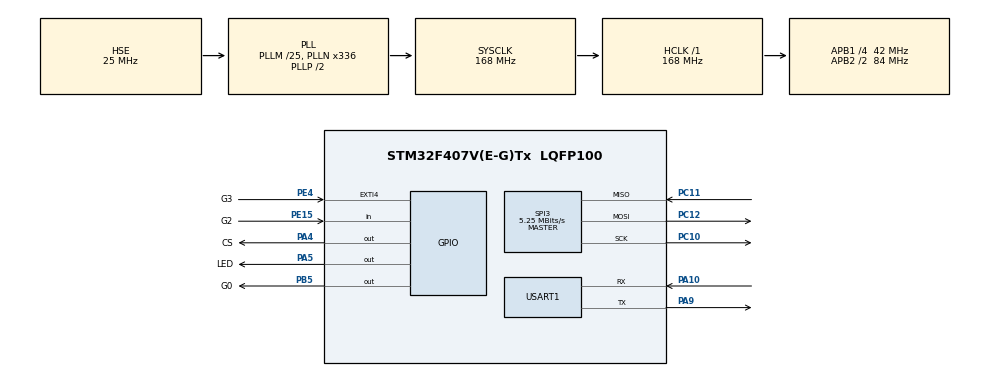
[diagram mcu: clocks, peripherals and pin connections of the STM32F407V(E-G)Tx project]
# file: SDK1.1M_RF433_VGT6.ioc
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Mcu.Family=STM32F4
Mcu.Name=STM32F407V(E-G)Tx
Mcu.Package=LQFP100
NVIC.EXTI4_IRQn=true\:0\:0\:false\:false\:true\:true\:true
NVIC.PriorityGroup=NVIC_PRIORITYGROUP_4
NVIC.USART1_IRQn=true\:0\:0\:false\:false\:true\:true\:true
PA10.Mode=Asynchronous
PA10.Signal=USART1_RX
PA13.Mode=JTAG_5_pins
PA13.Signal=SYS_JTMS-SWDIO
PA14.Mode=JTAG_5_pins
PA14.Signal=SYS_JTCK-SWCLK
PA15.Mode=JTAG_5_pins
PA15.Signal=SYS_JTDI
PA4.GPIO_Label=CS
PA4.Signal=GPIO_Output
PA5.GPIO_Label=LED
PA5.GPIO_PuPd=GPIO_PULLDOWN
PA5.Signal=GPIO_Output
PA9.Mode=Asynchronous
PA9.Signal=USART1_TX
PB3.Mode=JTAG_5_pins
PB3.Signal=SYS_JTDO-SWO
PB4.Mode=JTAG_5_pins
PB4.Signal=SYS_JTRST
PB5.GPIO_Label=G0
PB5.GPIO_ModeDefaultOutputPP=GPIO_MODE_OUTPUT_PP
PB5.GPIO_PuPd=GPIO_PULLUP
PB5.GPIO_Speed=GPIO_SPEED_FREQ_VERY_HIGH
PB5.Signal=GPIO_Output
PC10.Mode=Full_Duplex_Master
PC10.Signal=SPI3_SCK
PC11.Mode=Full_Duplex_Master
PC11.Signal=SPI3_MISO
PC12.Mode=Full_Duplex_Master
PC12.Signal=SPI3_MOSI
PE15.GPIO_Label=G2
PE15.GPIO_PuPd=GPIO_PULLUP
PE15.Signal=GPIO_Input
PE4.GPIO_Label=G3
PE4.GPIO_ModeDefaultEXTI=GPIO_MODE_IT_RISING
PE4.GPIO_PuPd=GPIO_PULLUP
PE4.Signal=GPXTI4
PH0-OSC_IN.Mode=HSE-External-Oscillator
PH0-OSC_IN.Signal=RCC_OSC_IN
PH1-OSC_OUT.Mode=HSE-External-Oscillator
PH1-OSC_OUT.Signal=RCC_OSC_OUT
ProjectManager.HeapSize=0x200
ProjectManager.StackSize=0x400
ProjectManager.TargetToolchain=STM32CubeIDE
RCC.48MHZClocksFreq_Value=84000000
RCC.AHBFreq_Value=168000000
RCC.APB1CLKDivider=RCC_HCLK_DIV4
RCC.APB1Freq_Value=42000000
RCC.APB1TimFreq_Value=84000000
RCC.APB2CLKDivider=RCC_HCLK_DIV2
RCC.APB2Freq_Value=84000000
RCC.APB2TimFreq_Value=168000000
RCC.CortexFreq_Value=168000000
RCC.HCLKFreq_Value=168000000
RCC.HSE_VALUE=25000000
RCC.HSI_VALUE=16000000
RCC.LSE_VALUE=32768
RCC.PLLM=25
RCC.PLLN=336
RCC.PLLSourceVirtual=RCC_PLLSOURCE_HSE
RCC.SYSCLKFreq_VALUE=168000000
RCC.SYSCLKSource=RCC_SYSCLKSOURCE_PLLCLK
RCC.VCOOutputFreq_Value=336000000
SPI3.BaudRatePrescaler=SPI_BAUDRATEPRESCALER_8
SPI3.CalculateBaudRate=5.25 MBits/s
SPI3.Direction=SPI_DIRECTION_2LINES
SPI3.Mode=SPI_MODE_MASTER
SPI3.VirtualType=VM_MASTER
USART1.VirtualMode=VM_ASYNC
board=custom

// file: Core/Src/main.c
/* USER CODE BEGIN Header */
/* USER CODE END Header */

#include "main.h"
#include "spi.h"
#include "usart.h"
#include "gpio.h"

/* USER CODE BEGIN Includes */
#include "CC120x.h"
#include "RFTools.h"
#include "cmp.h"
#include <stdio.h>

/* USER CODE END Includes */

void SystemClock_Config(void);

/* USER CODE BEGIN 0 */

static uint8_t cc120x_redyToTranfmitt = 1;

/* USER CODE END 0 */

int main(void) {

	/* MCU Configuration--------------------------------------------------------*/

	/* Reset of all peripherals, Initializes the Flash interface and the Systick. */
	HAL_Init();

	/* Configure the system clock */
	SystemClock_Config();

	/* Initialize all configured peripherals */
	MX_GPIO_Init();
	MX_SPI3_Init();
	MX_USART1_UART_Init();
	/* USER CODE BEGIN 2 */

//  HAL_TIM_Base_Start_IT(&htim2);
	/* USER CODE END 2 */

	/* Infinite loop */
	/* USER CODE BEGIN WHILE */
	cc120x_Init(hspi3, CS_GPIO_Port, CS_Pin);

	cc120x_WriteSettings(preferredSettings, settingsSize());
	cc120x_WriteStrobe(SNOP);

	HAL_Delay(100);
	cc120x_beginReceive();
	/*
	 uint8_t bufsize = 128;
	 uint8_t buffer[bufsize];
	 message_t message;
	 for (int i = 0; i < bufsize; i++)
	 buffer[i] = 0;
	 rftoolsPacket_t packet;
	 uint8_t dataIsOK = 0; */
//	uint8_t radioData[100] = { 0 };
	chip_status_t status = cc120x_WriteStrobe(SRX);
//	cc120x_WriteStrobe(SRX);
//	cc120x_WriteStrobe(SRX);
//	cc120x_WriteStrobe(SRX);
	while (1) {
		TISerialRadio_init(G2_GPIO_Port, G2_Pin, G0_GPIO_Port, G0_Pin, G3_GPIO_Port, G3_Pin);
//		uint8_t rssi = 0;//cc120x_RSSI();

//		status = cc120x_WriteStrobe(SNOP);
//
//		sprintf(buf, "%d - %d\n", rssi, status.chip_status);
//		if (HAL_UART_Transmit_IT(&huart1, buf, sizeof(buf)) == HAL_OK)
//		HAL_UART_Transmit_IT(&huart1, buf, sizeof(buf));

		/* rftools
		 //uint8_t offset = 0;

		 while (dataIsOK == 0) {
		 if (HAL_UART_Receive_IT(&huart1, buffer, PACKET_LENGTH)
		 == HAL_OK) {
		 dataIsOK = getPacket(buffer, &packet);
		 //				break;
		 //			else
		 //				HAL_UART_Abort(&huart1);

		 if (dataIsOK > 0)
		 {HAL_UART_Transmit_IT(&huart1, (uint8_t*) ASK, sizeof(ASK));
		 dataIsOK = 0;
		 }
		 //				break;
		 }
		 }

		 if (dataIsOK > 0) {
		 dataIsOK = 0;
		 HAL_UART_Transmit(&huart1, (uint8_t*) ASK, sizeof(ASK), 0x10);
		 message_t *ptrMessage = &message;
		 uint8_t messageSize = deserialize(packet.Data,
		 (message_t*) ptrMessage);

		 if (message.command == RFTOOLS_COMMAND_REGISTER) {
		 uint16_t naddress = ((uint16_t) message.address[0] << 8)
		 | message.address[1];
		 cc120x_WriteSingleRegister((uint16_t) naddress,
		 message.data[0]);
		 }
		 if (message.command == RFTOOLS_COMMAND_STROBE) {
		 cc120x_WriteStrobe(message.data[0]);
		 }

		 }

		 //
		 //		uint8_t size = cc120x_NumRxBytes();
		 //	if(size != 0 )
		 //		HAL_Delay(2);
		 * */

//HAL_SPI_Receive(&hspi1, radioData, sizeof(radioData), 0xFF);
	}

	/* USER CODE END WHILE */

}

void SystemClock_Config(void) {
	RCC_OscInitTypeDef RCC_OscInitStruct = { 0 };
	RCC_ClkInitTypeDef RCC_ClkInitStruct = { 0 };

	/** Configure the main internal regulator output voltage
	 */
	__HAL_RCC_PWR_CLK_ENABLE();
	__HAL_PWR_VOLTAGESCALING_CONFIG(PWR_REGULATOR_VOLTAGE_SCALE1);
	/** Initializes the CPU, AHB and APB busses clocks
	 */
	RCC_OscInitStruct.OscillatorType = RCC_OSCILLATORTYPE_HSE;
	RCC_OscInitStruct.HSEState = RCC_HSE_ON;
	RCC_OscInitStruct.PLL.PLLState = RCC_PLL_ON;
	RCC_OscInitStruct.PLL.PLLSource = RCC_PLLSOURCE_HSE;
	RCC_OscInitStruct.PLL.PLLM = 25;
	RCC_OscInitStruct.PLL.PLLN = 336;
	RCC_OscInitStruct.PLL.PLLP = RCC_PLLP_DIV2;
	RCC_OscInitStruct.PLL.PLLQ = 4;
	if (HAL_RCC_OscConfig(&RCC_OscInitStruct) != HAL_OK) {
		Error_Handler();
	}
	/** Initializes the CPU, AHB and APB busses clocks
	 */
	RCC_ClkInitStruct.ClockType = RCC_CLOCKTYPE_HCLK | RCC_CLOCKTYPE_SYSCLK
			| RCC_CLOCKTYPE_PCLK1 | RCC_CLOCKTYPE_PCLK2;
	RCC_ClkInitStruct.SYSCLKSource = RCC_SYSCLKSOURCE_PLLCLK;
	RCC_ClkInitStruct.AHBCLKDivider = RCC_SYSCLK_DIV1;
	RCC_ClkInitStruct.APB1CLKDivider = RCC_HCLK_DIV4;
	RCC_ClkInitStruct.APB2CLKDivider = RCC_HCLK_DIV2;

	if (HAL_RCC_ClockConfig(&RCC_ClkInitStruct, FLASH_LATENCY_5) != HAL_OK) {
		Error_Handler();
	}
}

/* USER CODE BEGIN 4 */

uint64_t syncword = 0xAAAAAAAAAAAAAAAA;
uint64_t recsyncword = 0;
uint8_t sync_word_index = sizeof(syncword) - 1;
uint8_t bitpos = 0;
uint8_t ReceiveSync(uint8_t pinstate) {
//	if (bitpos != 63) {
//		recsyncword |= (pinstate << (63 - bitpos++));
//	} else {
		if (bitpos > 63 && recsyncword == syncword) {
			bitpos = 0;
			return 1;
		}
		recsyncword = (recsyncword << 1) + pinstate;
		bitpos++;
//	}
	return 0;
}

uint16_t valIndex = 0;
uint16_t clkpin = G3_Pin;
GPIO_TypeDef *rxPort = G2_GPIO_Port;
uint16_t rxPin = G2_Pin;
uint8_t syncreceive = 0;
uint8_t counter = 0;

uint8_t transmitt = 0;
void SerialReceive(uint16_t GPIO_Pin, uint8_t *buf, uint8_t length) {
	GPIO_PinState pinstate = HAL_GPIO_ReadPin(rxPort, rxPin);
	if (syncreceive == 0)
//		syncreceive = ReceiveSync(pinstate);
		syncreceive =TISerialRadio_ReceiveSync(syncword);
	else {
		buf[valIndex] += pinstate << (7 - counter++);
		if (counter == 8) {
			counter = 0;
			valIndex++;

			if (valIndex == length) {
				syncreceive = 0;
				HAL_GPIO_TogglePin(LED_GPIO_Port, LED_Pin);
				valIndex = 0;
				transmitt = 1;
				cc120x_WriteStrobe(STX);
				cc120x_WriteStrobe(STX);
//				for (int i = 0; i < length; i++)
//					buf[i] = 0;
			}
		}
	}
}

uint8_t bufpos = 0;
uint8_t tcount = 0;
uint8_t state = 0;
uint8_t serialTransmitt(uint8_t *buf, uint8_t size) {
	state = ((buf[bufpos] & (0x80 >> tcount)) >> (7 - tcount));
	tcount++;
	HAL_GPIO_WritePin(G0_GPIO_Port, G0_Pin, state);
	if (tcount == 8) {
		bufpos++;
		tcount = 0;
	}
	if (bufpos == size) {
		bufpos = 0;
		return 1;
	}
	return 0;
}
uint8_t preamble[] = { 0xAA, 0xAA, 0xAA, 0xAA, 0xAA, 0xAA, 0xAA, 0xAA };
uint8_t buf[255] = { 0 };
uint8_t preambletransmitted = 0;
void HAL_GPIO_EXTI_Callback(uint16_t GPIO_Pin) {
	if (GPIO_Pin == clkpin) {
		if (transmitt != 1)
			SerialReceive(GPIO_Pin, buf, 255);
		else {
			if (preambletransmitted == 0) {
				preambletransmitted = serialTransmitt((uint8_t*) preamble,
						sizeof(preamble));
			} else {
				if (1 == serialTransmitt(buf, sizeof(buf)))
					preambletransmitted = 0;
			}
		}
	}

//	if (GPIO_Pin == L1_Pin) {
//		uint8_t pinstate = HAL_GPIO_ReadPin(L2_GPIO_Port, L2_Pin);
//		val = val | (pinstate << tick);
//		tick++;
//		if (tick > 8) {
////			HAL_Delay(1);
//			val = 0;
//			tick = 0;
//		}
//	}
	/*if (GPIO_Pin == G3_Pin) {
	 HAL_GPIO_TogglePin(LED_GPIO_Port, LED_Pin);
	 //cc120x_redyToTranfmitt = 1;
	 uint8_t size = cc120x_NumRxBytes();
	 if (size <= 0)
	 return;
	 //size = 54;
	 uint8_t pData[size];
	 for (int i = 0; i < size; i++) {
	 pData[i] = 0;
	 }

	 chip_status_t receive_status = cc120x_ReceiveData((uint8_t*) &pData,
	 size);
	 uint8_t rssi = cc120x_RSSI();
	 //		cc120x_WriteStrobe(STX);
	 cc120x_WriteStrobe(SIDLE);
	 //		cc120x_WriteStrobe(SFRX);
	 //HAL_Delay(100);

	 //				cc120x_WriteStrobe(SFTX);
	 //		receive_status = cc120x_WriteStrobe(STX);
	 //		receive_status = cc120x_WriteStrobe(SNOP);
	 //
	 //		cc120x_TransmittData(pData, size);

	 //		uint8_t nnl[] = { 134, 170, 105, 150, 166, 169, 170, 170, 85, 90, 13,
	 //				84, 211, 45, 77, 83, 85, 84, 170, 180, 0, 0, 0, 0, 0, 0, 7, };
	 //		cc120x_TransmittData(pData, size);
	 //		receive_status = cc120x_WriteStrobe(SNOP);
	 cc120x_WriteStrobe(SRX);
	 //		cc120x_WriteStrobe(SFRX);
	 //		cc120x_WriteStrobe(SIDLE);
	 //		receive_status = cc120x_beginReceive();

	 //main();
	 }*/
}
/* USER CODE END 4 */

void Error_Handler(void) {
}

/************************ (C) COPYRIGHT STMicroelectronics *****END OF FILE****/
